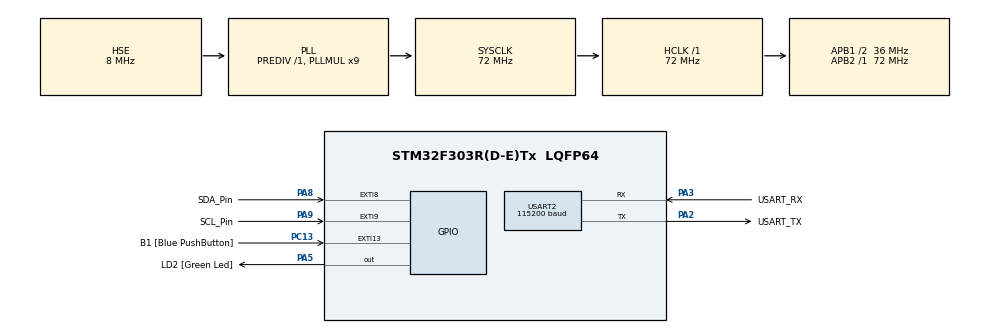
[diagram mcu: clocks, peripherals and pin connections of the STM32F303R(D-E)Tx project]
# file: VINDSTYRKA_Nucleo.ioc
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Mcu.Family=STM32F3
Mcu.Name=STM32F303R(D-E)Tx
Mcu.Package=LQFP64
NVIC.EXTI15_10_IRQn=true\:0\:0\:false\:false\:true\:true\:true\:true
NVIC.EXTI9_5_IRQn=true\:0\:0\:false\:false\:true\:true\:true\:true
NVIC.PriorityGroup=NVIC_PRIORITYGROUP_0
PA13.GPIO_Label=TMS
PA13.Mode=Serial_Wire
PA13.Signal=SYS_JTMS-SWDIO
PA14.GPIO_Label=TCK
PA14.Mode=Serial_Wire
PA14.Signal=SYS_JTCK-SWCLK
PA2.GPIO_Label=USART_TX
PA2.GPIO_Mode=GPIO_MODE_AF_PP
PA2.GPIO_PuPd=GPIO_NOPULL
PA2.GPIO_Speed=GPIO_SPEED_FREQ_LOW
PA2.Mode=Asynchronous
PA2.Signal=USART2_TX
PA3.GPIO_Label=USART_RX
PA3.GPIO_Mode=GPIO_MODE_AF_PP
PA3.GPIO_PuPd=GPIO_NOPULL
PA3.GPIO_Speed=GPIO_SPEED_FREQ_LOW
PA3.Mode=Asynchronous
PA3.Signal=USART2_RX
PA5.GPIO_Label=LD2 [Green Led]
PA5.GPIO_Mode=GPIO_MODE_OUTPUT_PP
PA5.GPIO_PuPd=GPIO_NOPULL
PA5.GPIO_Speed=GPIO_SPEED_FREQ_LOW
PA5.Signal=GPIO_Output
PA8.GPIO_Label=SDA_Pin
PA8.GPIO_PuPd=GPIO_NOPULL
PA8.Signal=GPXTI8
PA9.GPIO_Label=SCL_Pin
PA9.GPIO_ModeDefaultEXTI=GPIO_MODE_IT_FALLING
PA9.GPIO_PuPd=GPIO_NOPULL
PA9.Signal=GPXTI9
PB3.GPIO_Label=SWO
PB3.Signal=SYS_JTDO-TRACESWO
PC13.GPIO_Label=B1 [Blue PushButton]
PC13.GPIO_ModeDefaultEXTI=GPIO_MODE_IT_FALLING
PC13.Signal=GPXTI13
PC14-OSC32_IN.Mode=LSE-External-Oscillator
PC14-OSC32_IN.Signal=RCC_OSC32_IN
PC15-OSC32_OUT.Mode=LSE-External-Oscillator
PC15-OSC32_OUT.Signal=RCC_OSC32_OUT
PF0-OSC_IN.Mode=HSE-External-Clock-Source
PF0-OSC_IN.Signal=RCC_OSC_IN
PF1-OSC_OUT.Signal=RCC_OSC_OUT
ProjectManager.HeapSize=0x200
ProjectManager.StackSize=0x400
ProjectManager.TargetToolchain=STM32CubeIDE
RCC.AHBFreq_Value=72000000
RCC.APB1CLKDivider=RCC_HCLK_DIV2
RCC.APB1Freq_Value=36000000
RCC.APB1TimFreq_Value=72000000
RCC.APB2Freq_Value=72000000
RCC.APB2TimFreq_Value=72000000
RCC.CortexFreq_Value=72000000
RCC.HCLKFreq_Value=72000000
RCC.HSE_VALUE=8000000
RCC.HSI_VALUE=8000000
RCC.PLLM=8
RCC.PLLMUL=RCC_PLL_MUL9
RCC.PLLN=336
RCC.PLLP=RCC_PLLP_DIV4
RCC.PLLQ=7
RCC.PLLSourceVirtual=RCC_PLLSOURCE_HSE
RCC.RCC_PLLsource_Clock_Source_FROM_HSE=RCC_HSE_PREDIV_DIV2
RCC.SYSCLKFreq_VALUE=72000000
RCC.SYSCLKSourceVirtual=RCC_SYSCLKSOURCE_PLLCLK
RCC.USBFreq_Value=72000000
USART2.BaudRate=115200
USART2.VirtualMode-Asynchronous=VM_ASYNC
board=NUCLEO-F303RE

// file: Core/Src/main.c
/* USER CODE BEGIN Header */
/**
  ******************************************************************************
  * @file           : main.c
  * @brief          : Main program body
  ******************************************************************************
  * @attention
  *
  * Copyright (c) 2024 STMicroelectronics.
  * All rights reserved.
  *
  * This software is licensed under terms that can be found in the LICENSE file
  * in the root directory of this software component.
  * If no LICENSE file comes with this software, it is provided AS-IS.
  *
  ******************************************************************************
  */
/* USER CODE END Header */
#include "main.h"

/* USER CODE BEGIN Includes */
#include "stdbool.h"
#include "Com.h"
/* USER CODE END Includes */

/* USER CODE BEGIN PTD */
struct __attribute__((packed)) Measurement_Data {					//Measurement values struct
	uint8_t Size;
	uint16_t PM10;
	uint8_t PM10_CS;
	uint16_t PM25;
	uint8_t PM25_CS;
	uint16_t PM40;
	uint8_t PM40_CS;
	uint16_t PM100;
	uint8_t PM100_CS;
	uint16_t HUM;
	uint8_t HUM_CS;
	uint16_t TEMP;
	uint8_t TEMP_CS;
	uint16_t VOC;
	uint8_t VOC_CS;
};
/* USER CODE END PTD */

/* USER CODE BEGIN PV */
enum Bus_State {Wait_Start, Wait_Stop, Read_Data, Read_Address, Reset};

enum Source {SCL, SDA};

char bufferH_[ReceiveSize];				//physical location of data being handled
void *BufferH;							//pointer to location of data being handled

char BufferR_[ReceiveSize];				//physical location of UART receiving data
void *BufferR;

bool SCL_Enable = false;
bool SDA_Enable = false;

volatile uint8_t Bit_Count = 9;
volatile uint8_t Data_Byte = 0;
volatile uint8_t rbuf_index = 1;

volatile uint8_t counter = 0;

/* USER CODE END PV */

void SystemClock_Config(void);
static void MX_GPIO_Init(void);
static void MX_USART2_UART_Init(void);

/* USER CODE BEGIN 0 */

enum Bus_State main_State = Wait_Start;

void Set_SCL_RisingNFalling(bool RisingNFalling) //set SCL interrupt to Rising edge when bool = true, set interrupt to falling edge when bool = false
{
  GPIO_InitTypeDef GPIO_InitStruct = {0};
  /*Configure GPIO pin : SCL_Pin_Pin */
  if (RisingNFalling)
    GPIO_InitStruct.Mode = GPIO_MODE_IT_RISING;
  else
    GPIO_InitStruct.Mode = GPIO_MODE_IT_FALLING;

  GPIO_InitStruct.Pin = SCL_Pin_Pin;
  GPIO_InitStruct.Pull = GPIO_PULLDOWN;
  HAL_GPIO_Init(SCL_Pin_GPIO_Port, &GPIO_InitStruct);
}

void Set_SDA_RisingNFalling(bool RisingNFalling) //set SDA interrupt to Rising edge when bool = true, set interrupt to falling edge when bool = false
{
  GPIO_InitTypeDef GPIO_InitStruct = {0};
  /*Configure GPIO pin : SDA_Pin_Pin */
  if (RisingNFalling)
	GPIO_InitStruct.Mode = GPIO_MODE_IT_RISING;
  else
	GPIO_InitStruct.Mode = GPIO_MODE_IT_FALLING;

  GPIO_InitStruct.Pin = SDA_Pin_Pin;
  GPIO_InitStruct.Pull = GPIO_PULLDOWN;
  HAL_GPIO_Init(SDA_Pin_GPIO_Port, &GPIO_InitStruct);
}

void Set_SCL_INT(bool Enable) //Enable or disable SCL external interrupt, required they share an interrupt flag
{
  /*Configure GPIO pin : SCL_Pin_Pin */
  SCL_Enable = Enable;
}

void Set_SDA_INT(bool Enable) //Enable or disable SCL external interrupt, required they share an interrupt flag
{
  /*Configure GPIO pin : SCL_Pin_Pin */
  SDA_Enable = Enable;
}
/* USER CODE END 0 */

int main(void)
{

  /* MCU Configuration--------------------------------------------------------*/

  /* Reset of all peripherals, Initializes the Flash interface and the Systick. */
  HAL_Init();

  /* USER CODE BEGIN Init */
  Set_SDA_RisingNFalling(false); // set SDA external interrupt to Falling edge
  Set_SDA_INT(true);	// initiate SDA interrupt for bus state = wait_start
  Set_SCL_INT(false); 	// initiate SCL interrupt for bus state = wait_start
  BufferR = &BufferR_;	//bind pointer to physical location
  BufferH = &bufferH_;	//bind pointer to physical location
  InitCom();
  /* USER CODE END Init */

  /* Configure the system clock */
  SystemClock_Config();

  /* Initialize all configured peripherals */
  MX_GPIO_Init();
  MX_USART2_UART_Init();
  /* USER CODE BEGIN 2 */
  void Transmit(void* bufferT, uint8_t Length_p, USART_TypeDef* USART_P) // transmit info over uart debug port
  {
	volatile static uint8_t i;

	for (i = 0; i < Length_p; i++)
	{
		while ( !(READ_BIT(USART_P->ISR, USART_ISR_TXE)) );
		USART_P->TDR = *((uint8_t*)(bufferT+i));
	}
  }
  /* USER CODE END 2 */

  /* Infinite loop */
  /* USER CODE BEGIN WHILE */
  while (1)
  {
	  while ( R_Pop(&BufferH)) // check if an message is available in the circular buffer
	  {
		  volatile uint8_t size = *(uint8_t *)BufferH; // get the first byte from the buffer this holds the size of the packet
		  //size = size;
		  //Transmit((uint8_t *)BufferH, size, USART2); // transmit the buffer over the debug uart port
		  /*if (size == 21)
		  {
			  struct Measurement_Data *Measurement_Data = (void *) BufferH;
			  Transmit(Measurement_Data, sizeof(struct Measurement_Data), USART2); // transmit the buffer over the debug uart port
//			  Transmit((uint8_t *)BufferH, size + 1, USART2);
		  }*/ // could make packets for all the data block but am to lazy
		  if (size == 9 || size == 12 || size == 21 || size == 3)
		  {
			  Transmit((uint8_t *)BufferH, size + 1, USART2);
		  }
	  }
	  if (main_State == Reset) // reset the bus state machine
	  {
		  Bit_Count = 9;
		  Data_Byte = 0;
		  rbuf_index = 1;
		  Set_SDA_RisingNFalling(false);
		  Set_SDA_INT(true);
		  Set_SCL_INT(false);
		  (*(uint8_t *)(BufferR)) = 0; //clear buffer packet size
		  main_State = Wait_Start;
	  }
    /* USER CODE END WHILE */

  }
}

void SystemClock_Config(void)
{
  RCC_OscInitTypeDef RCC_OscInitStruct = {0};
  RCC_ClkInitTypeDef RCC_ClkInitStruct = {0};
  RCC_PeriphCLKInitTypeDef PeriphClkInit = {0};

  /** Initializes the RCC Oscillators according to the specified parameters
  * in the RCC_OscInitTypeDef structure.
  */
  RCC_OscInitStruct.OscillatorType = RCC_OSCILLATORTYPE_HSE;
  RCC_OscInitStruct.HSEState = RCC_HSE_BYPASS;
  RCC_OscInitStruct.HSIState = RCC_HSI_ON;
  RCC_OscInitStruct.PLL.PLLState = RCC_PLL_ON;
  RCC_OscInitStruct.PLL.PLLSource = RCC_PLLSOURCE_HSE;
  RCC_OscInitStruct.PLL.PLLMUL = RCC_PLL_MUL9;
  RCC_OscInitStruct.PLL.PREDIV = RCC_PREDIV_DIV1;
  if (HAL_RCC_OscConfig(&RCC_OscInitStruct) != HAL_OK)
  {
    Error_Handler();
  }

  /** Initializes the CPU, AHB and APB buses clocks
  */
  RCC_ClkInitStruct.ClockType = RCC_CLOCKTYPE_HCLK|RCC_CLOCKTYPE_SYSCLK
                              |RCC_CLOCKTYPE_PCLK1|RCC_CLOCKTYPE_PCLK2;
  RCC_ClkInitStruct.SYSCLKSource = RCC_SYSCLKSOURCE_PLLCLK;
  RCC_ClkInitStruct.AHBCLKDivider = RCC_SYSCLK_DIV1;
  RCC_ClkInitStruct.APB1CLKDivider = RCC_HCLK_DIV2;
  RCC_ClkInitStruct.APB2CLKDivider = RCC_HCLK_DIV1;

  if (HAL_RCC_ClockConfig(&RCC_ClkInitStruct, FLASH_LATENCY_2) != HAL_OK)
  {
    Error_Handler();
  }
  PeriphClkInit.PeriphClockSelection = RCC_PERIPHCLK_USART2;
  PeriphClkInit.Usart2ClockSelection = RCC_USART2CLKSOURCE_PCLK1;
  if (HAL_RCCEx_PeriphCLKConfig(&PeriphClkInit) != HAL_OK)
  {
    Error_Handler();
  }
}

static void MX_USART2_UART_Init(void)
{

  LL_USART_InitTypeDef USART_InitStruct = {0};

  LL_GPIO_InitTypeDef GPIO_InitStruct = {0};

  /* Peripheral clock enable */
  LL_APB1_GRP1_EnableClock(LL_APB1_GRP1_PERIPH_USART2);

  LL_AHB1_GRP1_EnableClock(LL_AHB1_GRP1_PERIPH_GPIOA);
  /**USART2 GPIO Configuration
  PA2   ------> USART2_TX
  PA3   ------> USART2_RX
  */
  GPIO_InitStruct.Pin = LL_GPIO_PIN_2|LL_GPIO_PIN_3;
  GPIO_InitStruct.Mode = LL_GPIO_MODE_ALTERNATE;
  GPIO_InitStruct.Speed = LL_GPIO_SPEED_FREQ_LOW;
  GPIO_InitStruct.OutputType = LL_GPIO_OUTPUT_PUSHPULL;
  GPIO_InitStruct.Pull = LL_GPIO_PULL_NO;
  GPIO_InitStruct.Alternate = LL_GPIO_AF_7;
  LL_GPIO_Init(GPIOA, &GPIO_InitStruct);

  USART_InitStruct.BaudRate = 115200;
  USART_InitStruct.DataWidth = LL_USART_DATAWIDTH_8B;
  USART_InitStruct.StopBits = LL_USART_STOPBITS_1;
  USART_InitStruct.Parity = LL_USART_PARITY_NONE;
  USART_InitStruct.TransferDirection = LL_USART_DIRECTION_TX_RX;
  USART_InitStruct.HardwareFlowControl = LL_USART_HWCONTROL_NONE;
  USART_InitStruct.OverSampling = LL_USART_OVERSAMPLING_16;
  LL_USART_Init(USART2, &USART_InitStruct);
  LL_USART_DisableIT_CTS(USART2);
  LL_USART_ConfigAsyncMode(USART2);
  LL_USART_Enable(USART2);

}

static void MX_GPIO_Init(void)
{
  GPIO_InitTypeDef GPIO_InitStruct = {0};

  /* GPIO Ports Clock Enable */
  __HAL_RCC_GPIOC_CLK_ENABLE();
  __HAL_RCC_GPIOF_CLK_ENABLE();
  __HAL_RCC_GPIOA_CLK_ENABLE();
  __HAL_RCC_GPIOB_CLK_ENABLE();

  /*Configure GPIO pin Output Level */
  HAL_GPIO_WritePin(LD2_GPIO_Port, LD2_Pin, GPIO_PIN_RESET);

  /*Configure GPIO pin : B1_Pin */
  GPIO_InitStruct.Pin = B1_Pin;
  GPIO_InitStruct.Mode = GPIO_MODE_IT_FALLING;
  GPIO_InitStruct.Pull = GPIO_NOPULL;
  HAL_GPIO_Init(B1_GPIO_Port, &GPIO_InitStruct);

  /*Configure GPIO pin : LD2_Pin */
  GPIO_InitStruct.Pin = LD2_Pin;
  GPIO_InitStruct.Mode = GPIO_MODE_OUTPUT_PP;
  GPIO_InitStruct.Pull = GPIO_NOPULL;
  GPIO_InitStruct.Speed = GPIO_SPEED_FREQ_LOW;
  HAL_GPIO_Init(LD2_GPIO_Port, &GPIO_InitStruct);

  /*Configure GPIO pin : SDA_Pin_Pin */
  GPIO_InitStruct.Pin = SDA_Pin_Pin;
  GPIO_InitStruct.Mode = GPIO_MODE_IT_RISING;
  GPIO_InitStruct.Pull = GPIO_NOPULL;
  HAL_GPIO_Init(SDA_Pin_GPIO_Port, &GPIO_InitStruct);

  /*Configure GPIO pin : SCL_Pin_Pin */
  GPIO_InitStruct.Pin = SCL_Pin_Pin;
  GPIO_InitStruct.Mode = GPIO_MODE_IT_FALLING;
  GPIO_InitStruct.Pull = GPIO_NOPULL;
  HAL_GPIO_Init(SCL_Pin_GPIO_Port, &GPIO_InitStruct);

  /* EXTI interrupt init*/
  HAL_NVIC_SetPriority(EXTI9_5_IRQn, 0, 0);
  HAL_NVIC_EnableIRQ(EXTI9_5_IRQn);

  HAL_NVIC_SetPriority(EXTI15_10_IRQn, 0, 0);
  HAL_NVIC_EnableIRQ(EXTI15_10_IRQn);

}

/* USER CODE BEGIN 4 */
void Bus_State_Handler(uint8_t source) // I2C bus state interupt handler. the state of the bus is changed acording to the state and the interupt source (SDA or SCL)
{

  switch (main_State) {
	  case Wait_Start: // wait for I2C start
		  if (source == SDA) // if the SDA gets a falling edge this is the start of the I2C start
		  {
			  if(HAL_GPIO_ReadPin(SCL_Pin_GPIO_Port, SCL_Pin_Pin)/* && !HAL_GPIO_ReadPin(SDA_Pin_GPIO_Port, SDA_Pin_Pin) */)
			  {
				  Set_SCL_RisingNFalling(true);
				  Set_SDA_INT(false);
				  Set_SCL_INT(true);
				  main_State = Read_Address;
			  }
			  else
				main_State = Reset;
		  }
		  else if (source == SCL) // After the SDA went low, SCK should go low
		  {
			  if(!HAL_GPIO_ReadPin(SCL_Pin_GPIO_Port, SCL_Pin_Pin))  //&& !HAL_GPIO_ReadPin(SDA_Pin_GPIO_Port, SDA_Pin_Pin) // (do not check if SDA pin is low or high, the start and the first bit are to close together for the microcontroller to check the correct state)
			  {
				  Set_SCL_RisingNFalling(true);
				  Set_SDA_INT(false);
				  Set_SCL_INT(true);
				  main_State = Read_Address; // start is received next is I2C address
			  }
			  else
				main_State = Reset;
		  }
		  else
			  main_State = Reset;
		  break;
	  case Read_Address: // address byte = 9 bit long 7 address, 1 read/wrtie, 1 ack/nack
		  if (source == SCL)
		  {
			  if (Bit_Count >= 3) // bit count is counting down from 9, when less than 3 are left the bits are no longer part of the address so not important to store
				  Data_Byte |= (HAL_GPIO_ReadPin(SDA_Pin_GPIO_Port, SDA_Pin_Pin) << (Bit_Count - 3));
		  	  Bit_Count--;
		  	  if (Bit_Count == 2) // check if the received address corresponds with the known sensor address of 0x69 or 105 in base 10
		  	  {
		  		  if (Data_Byte != 105)
		  			main_State = Reset;
		  		  break;
		  	  }
		  	  if (Bit_Count == 1) // check read / write, if bit is write ignore everything, reset and wait for the next message
		  	  {
				  if (!HAL_GPIO_ReadPin(SDA_Pin_GPIO_Port, SDA_Pin_Pin))
					  main_State = Reset;
				  break;
		  	  }
		  	  if (Bit_Count == 0) // ack / nack bit, check if the sensor responds a ack meaning the address was correctly received by the sensor
		  	  {
				  if (!HAL_GPIO_ReadPin(SDA_Pin_GPIO_Port, SDA_Pin_Pin)) // ack received go to read data
				  {
					  Data_Byte = 0;
				  	  Bit_Count = 9;
					  main_State = Read_Data;
				  }
				  else
					  main_State = Reset;
				  break;
		  	  }
		  }
		  else
			  main_State = Reset;
		  break;
	  case Read_Data: // Data byte = 9 bit long 8 data, 1 ack/nack
		  if (source == SCL)
		  {
			  if (Bit_Count >= 2) // bit count is counting down from 9, when less than 2 are left the bits are no longer part of the data so not important to store
				  Data_Byte |= (HAL_GPIO_ReadPin(SDA_Pin_GPIO_Port, SDA_Pin_Pin) << (Bit_Count - 2));
			  Bit_Count--;
			  if (Bit_Count == 1) // last data bit received store the received byte in the packet buffer
			  {
				  (*(uint8_t *)(BufferR))++; // add one to the packer buffer size
				  (*(uint8_t *)(BufferR + rbuf_index++)) = Data_Byte; //add data to the packet buffer and set the point one higher for the next byte
			  }
			  if (Bit_Count == 0) // ack/nack received check. ack = more data is to come, nack = end of packet stop receiving data and wait for stop
			  {
				  if (HAL_GPIO_ReadPin(SDA_Pin_GPIO_Port, SDA_Pin_Pin))
				  {
					  main_State = Wait_Stop; // data packet received wait for stop
				  }
				  else
				  {
					  Data_Byte = 0;
				  	  Bit_Count = 9;
					  main_State = Read_Data; // reset counters and get next byte
				  }
				  break;
			  }
		  }
		  else
			  main_State = Reset;
		  break;
	  case Wait_Stop: // wait for stop first scl goes high than SDA goes high
		  if (source == SCL)
		  {
			  if(/*HAL_GPIO_ReadPin(SCL_Pin_GPIO_Port, SCL_Pin_Pin) &&*/ !HAL_GPIO_ReadPin(SDA_Pin_GPIO_Port, SDA_Pin_Pin)) // SCL went high
			  {
				  Set_SDA_RisingNFalling(true);
				  Set_SDA_INT(true);
				  Set_SCL_INT(false);
				  R_Push(&BufferR);

				  main_State = Reset;
			  }
			  else
				main_State = Reset;
		  }
		  else if (source == SDA)
		  {
			  if(HAL_GPIO_ReadPin(SCL_Pin_GPIO_Port, SCL_Pin_Pin) /*&& HAL_GPIO_ReadPin(SDA_Pin_GPIO_Port, SDA_Pin_Pin) */) // SDA went high
			  {
				  R_Push(&BufferR);
				  main_State = Reset;
			  }
			  else
				  main_State = Reset;
		  }
		  else
			  main_State = Reset;
		  break;
	  default:
		  main_State = Reset;
		  break;
  }
}

void HAL_GPIO_EXTI_Callback(uint16_t GPIO_Pin) // external interupt handler check if the interupt is generated from SDA or SCL (both share an interupt flag)
{

	if(GPIO_Pin == SDA_Pin_Pin && SDA_Enable == true) // If The INT Source Is EXTI Line9 (A9 Pin)
		Bus_State_Handler(SDA);
	else if(GPIO_Pin == SCL_Pin_Pin && SCL_Enable == true) // If The INT Source Is EXTI Line9 (A9 Pin)
		Bus_State_Handler(SCL);
	counter = 0;
}

void Timer_Reset(void) //Timer if there is more than 5mS no interupt and the bus state is not Wait_Start asume something whent wrong and reset the bus state to Wait_Start
{

	counter++;
	if (counter > 5 && main_State != Wait_Start)
	{
	  Bit_Count = 9;
	  Data_Byte = 0;
	  Set_SDA_RisingNFalling(false);
	  Set_SDA_INT(true);
	  Set_SCL_INT(false);
	  main_State = Wait_Start;
	}
}

/* USER CODE END 4 */

void Error_Handler(void)
{
  __disable_irq();
  while (1)
  {
  }
}
